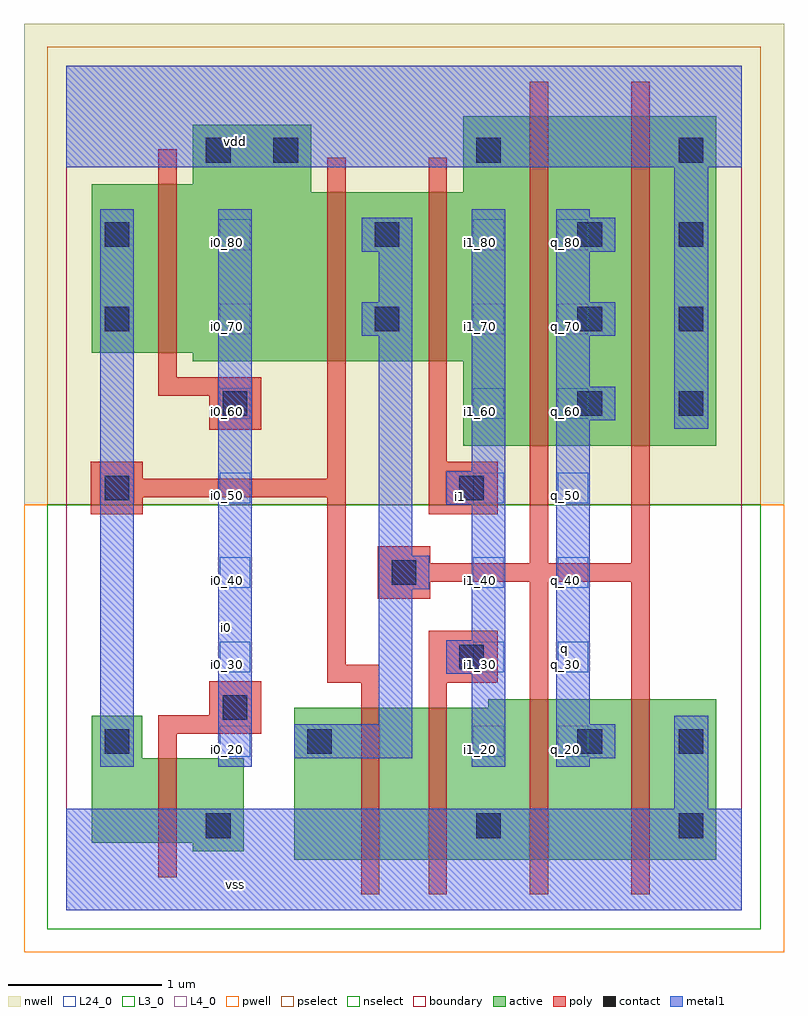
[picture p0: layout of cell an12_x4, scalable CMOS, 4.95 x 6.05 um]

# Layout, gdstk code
import gdstk
lib = gdstk.Library(unit=1e-6, precision=2.5e-09)
def R(c, l, rs):  # rectangles x0, y0, x1, y1
    for r in rs: c.add(gdstk.rectangle(r[:2], r[2:], *l))
def A(c, l, x, y, w, h, nx, ny, dx, dy):  # array of equal rectangles
    R(c, l, [(x+i*dx, y+j*dy, x+i*dx+w, y+j*dy+h) for i in range(nx) for j in range(ny)])
L3_0 = (3, 0)
L4_0 = (4, 0)
L24_0 = (24, 0)
contact = (25, 0)
pwell = (41, 0)
nwell = (42, 0)
active = (43, 0)
pselect = (44, 0)
nselect = (45, 0)
poly = (46, 0)
metal1 = (49, 0)
boundary = (63, 0)

an12_x4 = lib.new_cell('an12_x4')
R(an12_x4, L3_0, [(1.485,0.33,4.235,1.32), (0.825,0.385,1.155,0.44), (0.165,0.44,1.155,0.99), (0.165,0.99,0.495,1.265), (2.75,1.32,4.235,1.375)])
R(an12_x4, L4_0, [(2.585,3.025,4.235,3.575), (0.825,3.575,4.235,3.63), (0.165,3.63,4.235,4.675), (0.165,4.675,1.595,4.73), (2.585,4.675,4.235,5.17), (0.825,4.73,1.595,5.115)])
A(an12_x4, L24_0, 1, 1, 0.2, 0.2, 1, 7, 0, 0.55)
A(an12_x4, L24_0, 2.65, 1, 0.2, 0.2, 1, 7, 0, 0.55)
A(an12_x4, L24_0, 3.2, 1, 0.2, 0.2, 1, 7, 0, 0.55)
A(an12_x4, contact, 3.33, 3.22, 0.16, 0.16, 1, 3, 0, 0.55)
A(an12_x4, contact, 3.99, 3.22, 0.16, 0.16, 1, 3, 0, 0.55)
A(an12_x4, contact, 1.35, 4.87, 0.16, 0.16, 3, 1, 1.32, 0)
R(an12_x4, contact, [(0.91,0.47,1.07,0.63), (2.67,0.47,2.83,0.63), (3.99,0.47,4.15,0.63), (0.25,1.02,0.41,1.18), (1.57,1.02,1.73,1.18), (3.33,1.02,3.49,1.18), (3.99,1.02,4.15,1.18), (1.02,1.24,1.18,1.4), (2.56,1.57,2.72,1.73), (2.12,2.12,2.28,2.28), (0.25,2.67,0.41,2.83), (2.56,2.67,2.72,2.83), (1.02,3.22,1.18,3.38), (0.25,3.77,0.41,3.93), (2.01,3.77,2.17,3.93), (0.25,4.32,0.41,4.48), (2.01,4.32,2.17,4.48), (0.91,4.87,1.07,5.03)])
R(an12_x4, pwell, [(-0.275,-0.275,4.675,2.64)])
R(an12_x4, nwell, [(-0.275,2.64,4.675,5.775)])
R(an12_x4, active, [(1.485,0.33,4.235,1.32), (0.825,0.385,1.155,0.44), (0.165,0.44,1.155,0.99), (0.165,0.99,0.495,1.265), (2.75,1.32,4.235,1.375), (2.585,3.025,4.235,3.575), (0.825,3.575,4.235,3.63), (0.165,3.63,4.235,4.675), (0.165,4.675,1.595,4.73), (2.585,4.675,4.235,5.17), (0.825,4.73,1.595,5.115)])
R(an12_x4, pselect, [(-0.125,2.64,4.525,5.625)])
R(an12_x4, nselect, [(-0.125,-0.125,4.525,2.64)])
R(an12_x4, poly, [(1.92,0.105,2.04,1.48), (2.36,0.105,2.48,1.48), (3.02,0.105,3.14,2.14), (3.68,0.105,3.8,2.14), (0.6,0.215,0.72,1.15), (0.6,1.15,1.27,1.27), (0.93,1.27,1.27,1.49), (1.7,1.48,2.04,1.6), (2.36,1.48,2.81,1.82), (1.7,1.6,1.82,2.69), (2.03,2.03,2.37,2.14), (2.03,2.14,3.8,2.26), (2.03,2.26,2.37,2.37), (3.02,2.26,3.14,5.395), (3.68,2.26,3.8,5.395), (0.16,2.58,0.5,2.69), (2.36,2.58,2.81,2.92), (0.16,2.69,1.82,2.81), (0.16,2.81,0.5,2.92), (1.7,2.81,1.82,4.9), (2.36,2.92,2.48,4.9), (0.93,3.13,1.27,3.35), (0.6,3.35,1.27,3.47), (0.6,3.47,0.72,4.955)])
A(an12_x4, metal1, 3.19, 3.19, 0.385, 0.22, 1, 3, 0, 0.55)
R(an12_x4, metal1, [(0,0,4.4,0.66), (3.96,0.66,4.18,1.265), (0.22,0.935,0.44,4.565), (0.99,0.935,1.21,4.565), (2.64,0.935,2.86,1.54), (3.19,0.935,3.41,0.99), (1.485,0.99,2.255,1.21), (3.19,0.99,3.575,1.21), (2.035,1.21,2.255,2.09), (3.19,1.21,3.41,3.19), (2.475,1.54,2.86,1.76), (2.64,1.76,2.86,2.64), (2.035,2.09,2.365,2.31), (2.035,2.31,2.255,3.74), (2.475,2.64,2.86,2.86), (2.64,2.86,2.86,4.565), (3.96,3.135,4.18,4.84), (3.19,3.41,3.41,3.74), (1.925,3.74,2.255,3.96), (2.035,3.96,2.255,4.29), (3.19,3.96,3.41,4.29), (1.925,4.29,2.255,4.51), (3.19,4.51,3.41,4.565), (0,4.84,4.4,5.5)])
R(an12_x4, boundary, [(0,0,4.4,5.5)])
an12_x4.add(gdstk.Label('vss', (1.1,0.165), layer=49, texttype=0))
an12_x4.add(gdstk.Label('q', (3.245,1.705), layer=49, texttype=0))
an12_x4.add(gdstk.Label('i1', (2.57,2.695), layer=49, texttype=0))
an12_x4.add(gdstk.Label('i0', (1.045,1.8425), layer=49, texttype=0))
an12_x4.add(gdstk.Label('vdd', (1.1,5.005), layer=49, texttype=0))
an12_x4.add(gdstk.Label('i1_30', (2.7,1.6), layer=24, texttype=0))
an12_x4.add(gdstk.Label('i1_40', (2.7,2.15), layer=24, texttype=0))
an12_x4.add(gdstk.Label('i1_50', (2.7,2.7), layer=24, texttype=0))
an12_x4.add(gdstk.Label('i1_60', (2.7,3.25), layer=24, texttype=0))
an12_x4.add(gdstk.Label('i1_70', (2.7,3.8), layer=24, texttype=0))
an12_x4.add(gdstk.Label('i1_80', (2.7,4.35), layer=24, texttype=0))
an12_x4.add(gdstk.Label('q_80', (3.25,4.35), layer=24, texttype=0))
an12_x4.add(gdstk.Label('q_70', (3.25,3.8), layer=24, texttype=0))
an12_x4.add(gdstk.Label('q_60', (3.25,3.25), layer=24, texttype=0))
an12_x4.add(gdstk.Label('q_50', (3.25,2.7), layer=24, texttype=0))
an12_x4.add(gdstk.Label('q_40', (3.25,2.15), layer=24, texttype=0))
an12_x4.add(gdstk.Label('q_30', (3.25,1.6), layer=24, texttype=0))
an12_x4.add(gdstk.Label('q_20', (3.25,1.05), layer=24, texttype=0))
an12_x4.add(gdstk.Label('i1_20', (2.7,1.05), layer=24, texttype=0))
an12_x4.add(gdstk.Label('i0_30', (1.05,1.6), layer=24, texttype=0))
an12_x4.add(gdstk.Label('i0_60', (1.05,3.25), layer=24, texttype=0))
an12_x4.add(gdstk.Label('i0_70', (1.05,3.8), layer=24, texttype=0))
an12_x4.add(gdstk.Label('i0_40', (1.05,2.15), layer=24, texttype=0))
an12_x4.add(gdstk.Label('i0_50', (1.05,2.7), layer=24, texttype=0))
an12_x4.add(gdstk.Label('i0_20', (1.05,1.05), layer=24, texttype=0))
an12_x4.add(gdstk.Label('i0_80', (1.05,4.35), layer=24, texttype=0))

lib.write_gds('an12_x4.gds')
